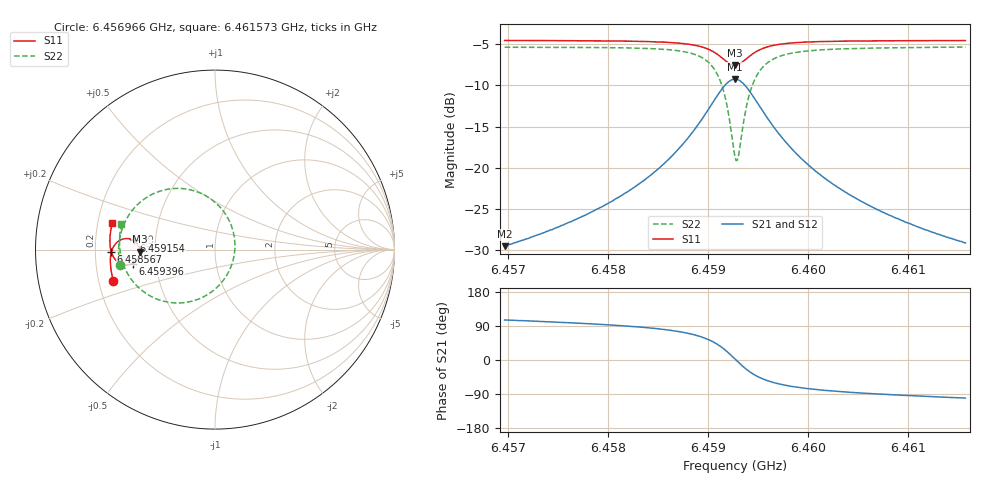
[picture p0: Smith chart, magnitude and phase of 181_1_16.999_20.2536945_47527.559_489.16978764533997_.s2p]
#  HZ  S  RI  R  50.00
! Rohde & Schwarz Vector Network Analyzer
! Rohde-Schwarz,ZNB20-2Port,1311601062101988,3.16
! Created: UTC 3/20/2024, 11:00:09 PM
! freq[Hz]  re:S11  im:S11  re:S21  im:S21  re:S12  im:S12  re:S22  im:S22
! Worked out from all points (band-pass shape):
!   401 points, 6.456966 GHz to 6.461573 GHz, reference 50 ohm
!   highest |S21| = -9.24 dB at 6.45927 GHz (marker M1); lowest = -29.5 dB at 6.456966 GHz (marker M2)
!   |S21| within 3 dB of the highest: 6.459039 GHz to 6.4595 GHz (460.7 kHz wide, 0.00713 % of centre)
!   lowest |S11| = -7.6 dB at 6.45927 GHz (marker M3), VSWR 2.44, Z = 20.5 - j0.597 ohm
!   |S11| at or under -10 dB: nowhere
!   |S22| runs from -19.1 to -5.4 dB; largest |S21 - S12| = 0.013
!   S11 on the Smith chart (normalised r, x): 6.456966 GHz: 0.26, -0.14; 6.458567 GHz: 0.27, -0.01; 6.459154 GHz: 0.37, +0.05; 6.459396 GHz: 0.37, -0.07; 6.461573 GHz: 0.26, +0.12
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6.456966e9  -0.5659 -0.1743  -0.00901 0.0323  -0.00732 0.0324  -0.5314 -0.0878
6.4577377e9  -0.5802 -0.1069  -0.00593 0.0504  -0.00335 0.0498  -0.5372 0.00233
6.4581639e9  -0.5833 -0.0642  0.000102 0.0699  0.00323 0.0685  -0.5295 0.0698
6.4585094e9  -0.5796 -0.0229  0.0138 0.0985  0.0177 0.096  -0.5045 0.1475
6.458567e9  -0.5778 -0.015  0.0181 0.1057  0.0221 0.1025  -0.4964 0.1642
6.4587743e9  -0.5649 0.0173  0.0454 0.1381  0.0496 0.1332  -0.4452 0.237
6.458924e9  -0.5423 0.0436  0.0906 0.1688  0.0938 0.1622  -0.3622 0.3018
6.4590622e9  -0.4985 0.0613  0.1777 0.1856  0.1787 0.1783  -0.2033 0.3409
6.4591544e9  -0.4538 0.0512  0.2677 0.1547  0.268 0.1488  -0.0367 0.2912
6.4592235e9  -0.4247 0.0191  0.3283 0.083  0.3305 0.0777  0.0787 0.1622
6.4592695e9  -0.4177 -0.012  0.3449 0.0151  0.3485 0.00824  0.1109 0.0355
6.4592811e9  -0.4182 -0.0199  0.3447 -0.00281  0.3486 -0.0102  0.1107 0.00216
6.4593041e9  -0.4216 -0.0355  0.3391 -0.0374  0.3431 -0.0464  0.0998 -0.0635
6.4593502e9  -0.4373 -0.0618  0.3107 -0.0972  0.313 -0.1089  0.0426 -0.1763
6.4593962e9  -0.4592 -0.0781  0.2688 -0.1382  0.2682 -0.1513  -0.0422 -0.2511
6.4594884e9  -0.5026 -0.0849  0.1843 -0.1695  0.1783 -0.181  -0.2103 -0.2973
6.4596381e9  -0.5465 -0.0645  0.0967 -0.1559  0.0882 -0.1621  -0.3772 -0.2487
6.4597993e9  -0.5681 -0.0369  0.0518 -0.1282  0.0442 -0.131  -0.4576 -0.1772
6.4600412e9  -0.5809 -0.00146  0.0225 -0.097  0.0169 -0.0975  -0.5058 -0.0952
6.4603637e9  -0.5855 0.0371  0.00721 -0.0716  0.00305 -0.0712  -0.5268 -0.0207
6.4608129e9  -0.584 0.0824  -0.00124 -0.0517  -0.004 -0.0509  -0.532 0.0517
6.461573e9  -0.5718 0.1498  -0.00634 -0.0346  -0.00803 -0.0336  -0.5211 0.1415
